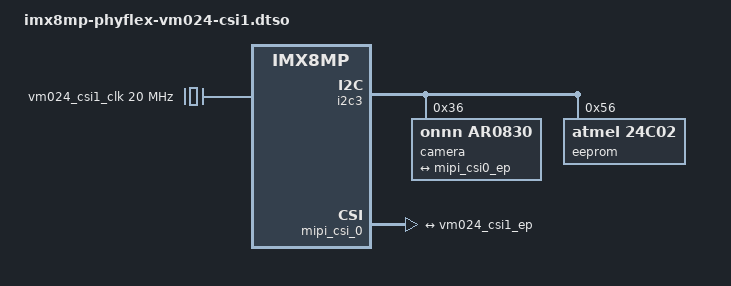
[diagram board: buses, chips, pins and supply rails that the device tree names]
// SPDX-License-Identifier: (GPL-2.0+ OR MIT)
/*
 * Copyright (C) 2026 PHYTEC Messtechnik GmbH
 * Author: Stefan Riedmüller <s.riedmueller@phytec.de>
 */

#include <dt-bindings/media/video-interfaces.h>

/dts-v1/;
/plugin/;

#include "imx8mp-phycore-isi-csi1.dtsi"
#include "imx8mp-phycore-isp-csi1.dtsi"

&{/} {
	vm024_csi1_clk: vm024-csi1-ext-clk {
		#clock-cells = <0>;
		compatible = "fixed-clock";
		clock-frequency = <20000000>;
	};
};

&i2c3 {
	#address-cells = <1>;
	#size-cells = <0>;

	camera@36 {
		#address-cells = <0x1>;
		#size-cells = <0x0>;

		compatible = "onnn,ar0830";
		reg = <0x36>;
		clocks = <&vm024_csi1_clk>;
		clock-names = "ext";
		orientation = <2>;
		rotation = <0>;

		port@0 {
			reg = <0>;

			vm024_csi1_ep: endpoint {
				remote-endpoint = <&mipi_csi0_ep>;
				bus-type = <MEDIA_BUS_TYPE_CSI2_DPHY>;
				link-frequencies = /bits/ 64 <288000000 375000000 500000000 562500000 600000000 750000000>;
				data-lanes = <1 2 3 4>;
				clock-lanes = <0>;
			};
		};
	};

	eeprom@56 {
		compatible = "atmel,24c02";
		reg = <0x56>;
		pagesize = <16>;
	};
};

&mipi_csi_0 {
	#address-cells = <1>;
	#size-cells = <0>;

	port@0 {
		reg = <0>;
		mipi_csi0_ep: endpoint {
			remote-endpoint = <&vm024_csi1_ep>;
			data-lanes = <4>;
			csis-hs-settle = <13>;
			csis-clk-settle = <2>;
			csis-wclk;
		};
	};
};
